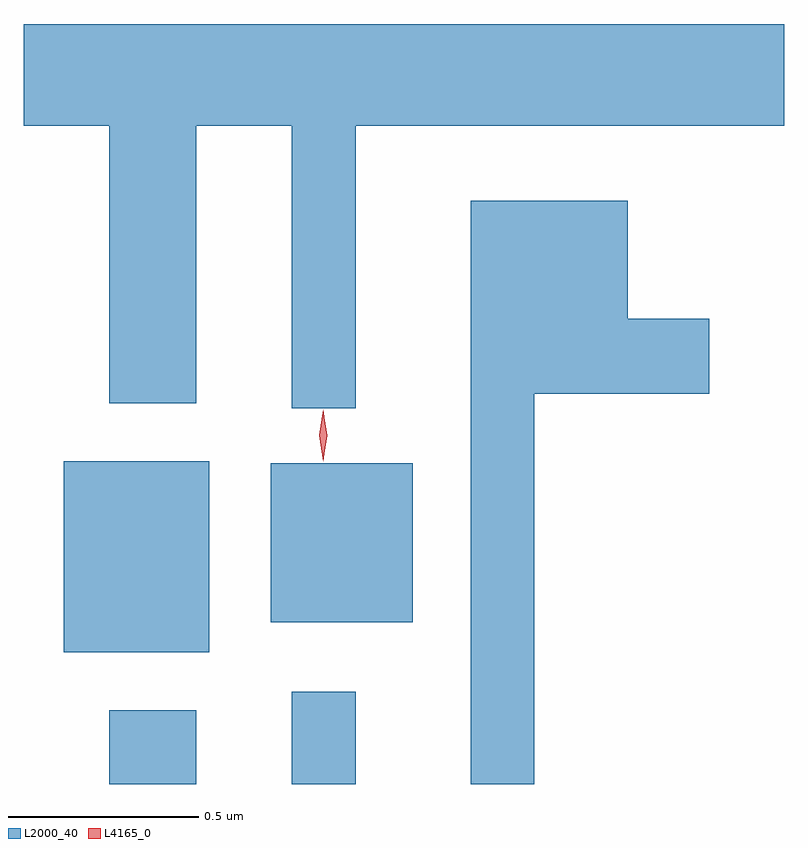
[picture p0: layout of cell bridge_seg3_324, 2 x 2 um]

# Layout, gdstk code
import gdstk
lib = gdstk.Library(unit=1e-6, precision=1e-09)
def R(c, l, rs):  # rectangles x0, y0, x1, y1
    for r in rs: c.add(gdstk.rectangle(r[:2], r[2:], *l))
def P(c, l, *ps):  # polygons
    for p in ps: c.add(gdstk.Polygon(p, *l))
L2000_40 = (2000, 40)
L4165_0 = (4165, 0)

bridge_seg3_324 = lib.new_cell('bridge_seg3_324')
R(bridge_seg3_324, L2000_40, [(582.281,1201.985,582.509,1202.179), (582.761,1201.985,582.929,1202.228), (582.161,1202.331,582.544,1202.834), (582.706,1202.411,583.079,1202.829)])
P(bridge_seg3_324, L2000_40, [(582.929,1203.716),(584.056,1203.716),(584.056,1203.984),(582.056,1203.984),(582.056,1203.716),(582.281,1203.716),(582.281,1202.986),(582.509,1202.986),(582.509,1203.716),(582.761,1203.716),(582.761,1202.973),(582.929,1202.973)],
  [(583.399,1203.011),(583.859,1203.011),(583.859,1203.209),(583.644,1203.209),(583.644,1203.519),(583.231,1203.519),(583.231,1201.985),(583.399,1201.985)])
P(bridge_seg3_324, L4165_0, [(582.843,1202.838),(582.833,1202.902),(582.843,1202.966),(582.844,1202.967),(582.844,1202.966),(582.854,1202.902),(582.844,1202.838),(582.844,1202.838)],
  [(582.843,1202.834),(582.843,1202.834),(582.833,1202.902),(582.843,1202.97),(582.843,1202.97),(582.844,1202.97),(582.853,1202.902),(582.844,1202.834)])

lib.write_gds('bridge_seg3_324.gds')
